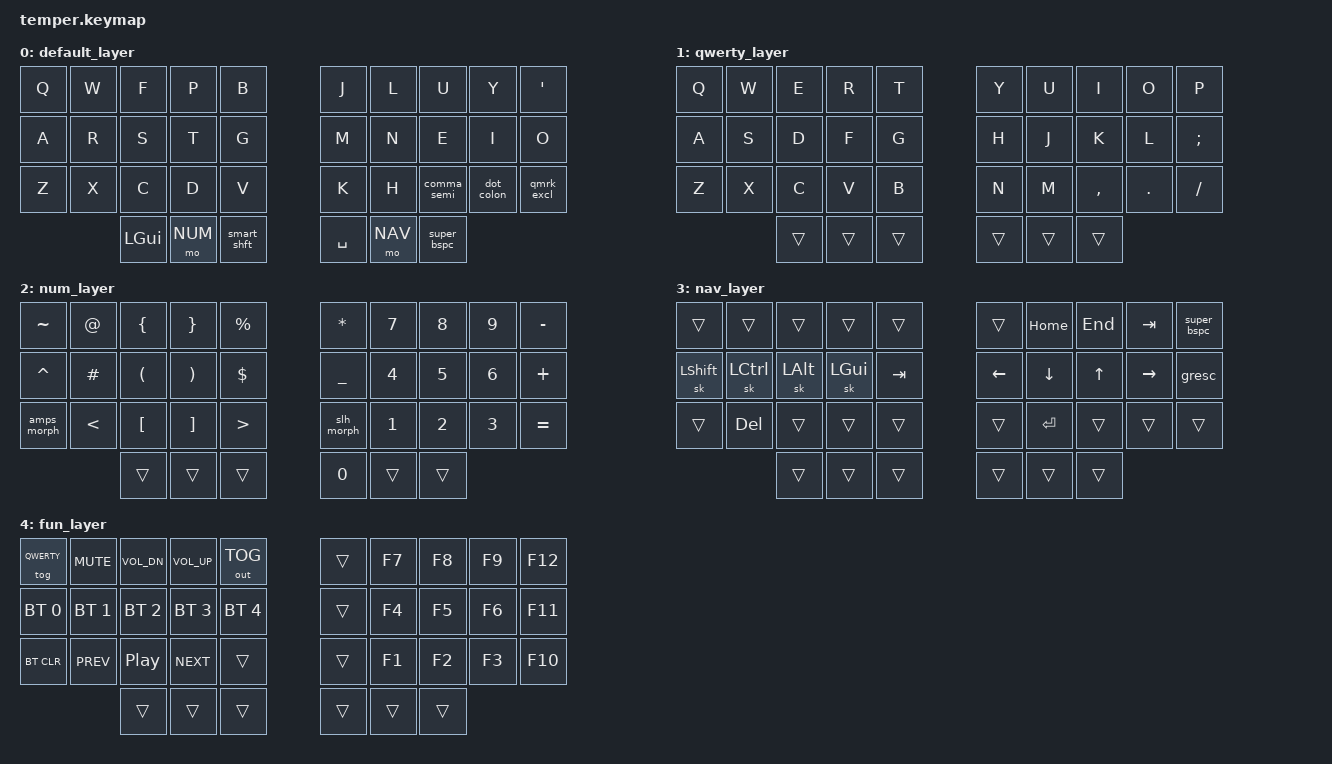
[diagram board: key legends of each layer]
/*
 * Copyright (c) 2020 The ZMK Contributors
 *
 * SPDX-License-Identifier: MIT
 */

#include <behaviors.dtsi>
#include <dt-bindings/zmk/keys.h>
#include <dt-bindings/zmk/bt.h>
#include <dt-bindings/zmk/outputs.h>

#define DEFAULT 0
#define QWERTY 1
#define NUM 2
#define NAV 3
#define FUN 4

/ {
    conditional_layers {
        compatible = "zmk,conditional-layers";
        tri_layer {
            if-layers = <NUM NAV>;
            then-layer = <FUN>;
        };
    };
    behaviors {
        hm: homerow_mods {
            compatible = "zmk,behavior-hold-tap";
            label = "HOMEROW_MODS";
            #binding-cells = <2>;
            tapping-term-ms = <300>;
            quick-tap-ms = <200>;
            flavor = "tap-preferred";
            bindings = <&kp>, <&kp>;
        };
    };

    combos {
        compatible = "zmk,combos";

        a {
            bindings = <&kp ESCAPE>;
            key-positions = <2 1>;
        };

        b {
            bindings = <&kp CLCK>;
            key-positions = <14 13>;
        };

        c {
            bindings = <&kp TAB>;
            key-positions = <26 25>;
        };

        d {
            bindings = <&kp BACKSPACE>;
            key-positions = <10 9>;
        };

        e {
            bindings = <&kp ENTER>;
            key-positions = <22 21>;
        };

        f {
            bindings = <&kp MINUS>;
            key-positions = <19 20>;
        };

        g {
            bindings = <&kp EQUAL>;
            key-positions = <21 20>;
        };

        h {
            bindings = <&sys_reset>;
            key-positions = <1 29>;
        };

        j {
            bindings = <&sys_reset>;
            key-positions = <30 10>;
        };
    };
        keymap {
                compatible = "zmk,keymap";

                default_layer {
                        bindings = <
// ╭─────────────┬─────────────┬─────────────┬─────────────┬─────────────╮   ╭─────────────┬─────────────┬─────────────┬─────────────┬─────────────╮
        &kp Q         &kp W         &kp F         &kp P         &kp B             &kp J         &kp L         &kp U         &kp Y       &kp APOS   
// ├─────────────┼─────────────┼─────────────┼─────────────┼─────────────┤   ├─────────────┼─────────────┼─────────────┼─────────────┼─────────────┤
        &kp A         &kp R         &kp S         &kp T         &kp G             &kp M         &kp N         &kp E         &kp I         &kp O
// ├─────────────┼─────────────┼─────────────┼─────────────┼─────────────┤   ├─────────────┼─────────────┼─────────────┼─────────────┼─────────────┤
        &kp Z         &kp X         &kp C         &kp D         &kp V             &kp K         &kp H      &comma_semi    &dot_colon    &qmrk_excl
// ╰─────────────┴─────────────┼─────────────┼─────────────┼─────────────┤   ├─────────────┼─────────────┼─────────────┼─────────────┴─────────────╯
                                   &kp LGUI      &mo NUM     &smart_shft        &kp SPACE      &mo NAV     &super_bspc
//                             ╰─────────────┴─────────────┴─────────────╯   ╰─────────────┴─────────────┴─────────────╯
                        >;
                };
                qwerty_layer {
                        bindings = <
// ╭─────────────┬─────────────┬─────────────┬─────────────┬─────────────╮   ╭─────────────┬─────────────┬─────────────┬─────────────┬─────────────╮
        &kp Q         &kp W         &kp E         &kp R         &kp T              &kp Y        &kp U         &kp I         &kp O         &kp P   
// ├─────────────┼─────────────┼─────────────┼─────────────┼─────────────┤   ├─────────────┼─────────────┼─────────────┼─────────────┼─────────────┤
        &kp A         &kp S         &kp D         &kp F         &kp G              &kp H        &kp J         &kp K         &kp L       &kp SEMI
// ├─────────────┼─────────────┼─────────────┼─────────────┼─────────────┤   ├─────────────┼─────────────┼─────────────┼─────────────┼─────────────┤
        &kp Z         &kp X         &kp C         &kp V         &kp B              &kp N        &kp M       &kp COMMA      &kp DOT      &kp FSLH
// ╰─────────────┴─────────────┼─────────────┼─────────────┼─────────────┤   ├─────────────┼─────────────┼─────────────┼─────────────┴─────────────╯
                                    &trans        &trans        &trans             &trans       &trans        &trans
//                             ╰─────────────┴─────────────┴─────────────╯   ╰─────────────┴─────────────┴─────────────╯
                        >;
                };
                num_layer {
                        bindings = <
// ╭─────────────┬─────────────┬─────────────┬─────────────┬─────────────╮   ╭─────────────┬─────────────┬─────────────┬─────────────┬─────────────╮
      &kp TILDE       &kp AT       &kp LBRC      &kp RBRC     &kp PRCNT          &kp STAR       &kp N7        &kp N8        &kp N9      &kp MINUS
// ├─────────────┼─────────────┼─────────────┼─────────────┼─────────────┤   ├─────────────┼─────────────┼─────────────┼─────────────┼─────────────┤
      &kp CARET      &kp HASH      &kp LPAR      &kp RPAR      &kp DLLR         &kp UNDER       &kp N4        &kp N5        &kp N6      &kp PLUS
// ├─────────────┼─────────────┼─────────────┼─────────────┼─────────────┤   ├─────────────┼─────────────┼─────────────┼─────────────┼─────────────┤
      &amps_morph     &kp LT       &kp LBKT      &kp RBKT       &kp GT          &slh_morph      &kp N1        &kp N2        &kp N3      &kp EQUAL
// ╰─────────────┴─────────────┼─────────────┼─────────────┼─────────────┤   ├─────────────┼─────────────┼─────────────┼─────────────┴─────────────╯
                                    &trans        &trans        &trans            &kp N0        &trans        &trans
//                             ╰─────────────┴─────────────┴─────────────╯   ╰─────────────┴─────────────┴─────────────╯
                        >;
                };

                nav_layer {
                        bindings = <
// ╭─────────────┬─────────────┬─────────────┬─────────────┬─────────────╮   ╭─────────────┬─────────────┬─────────────┬─────────────┬─────────────╮
        &trans        &trans        &trans        &trans        &trans            &trans       &kp HOME      &kp END       &kp TAB     &super_bspc
// ├─────────────┼─────────────┼─────────────┼─────────────┼─────────────┤   ├─────────────┼─────────────┼─────────────┼─────────────┼─────────────┤
      &sk LSHFT     &sk LCTRL      &sk LALT      &sk LGUI      &kp TAB           &kp LEFT      &kp DOWN       &kp UP      &kp RIGHT       &gresc
// ├─────────────┼─────────────┼─────────────┼─────────────┼─────────────┤   ├─────────────┼─────────────┼─────────────┼─────────────┼─────────────┤
        &trans       &kp DEL        &trans        &trans        &trans            &trans        &kp RET       &trans        &trans        &trans
// ╰─────────────┴─────────────┼─────────────┼─────────────┼─────────────┤   ├─────────────┼─────────────┼─────────────┼─────────────┴─────────────╯
                                    &trans        &trans        &trans            &trans        &trans        &trans
//                             ╰─────────────┴─────────────┴─────────────╯   ╰─────────────┴─────────────┴─────────────╯
                        >;
                };

                fun_layer {
                        bindings = <
// ╭─────────────┬─────────────┬─────────────┬─────────────┬─────────────╮   ╭─────────────┬─────────────┬─────────────┬─────────────┬─────────────╮
     &tog QWERTY   &kp K_MUTE    &kp C_VOL_DN  &kp C_VOL_UP  &out OUT_TOG         &trans        &kp F7        &kp F8        &kp F9       &kp F12
// ├─────────────┼─────────────┼─────────────┼─────────────┼─────────────┤   ├─────────────┼─────────────┼─────────────┼─────────────┼─────────────┤
     &bt BT_SEL 0  &bt BT_SEL 1  &bt BT_SEL 2  &bt BT_SEL 3  &bt BT_SEL 4         &trans        &kp F4        &kp F5        &kp F6       &kp F11
// ├─────────────┼─────────────┼─────────────┼─────────────┼─────────────┤   ├─────────────┼─────────────┼─────────────┼─────────────┼─────────────┤
      &bt BT_CLR    &kp C_PREV     &kp C_PP     &kp C_NEXT      &trans            &trans        &kp F1        &kp F2        &kp F3       &kp F10
// ╰─────────────┴─────────────┼─────────────┼─────────────┼─────────────┤   ├─────────────┼─────────────┼─────────────┼─────────────┴─────────────╯
                                    &trans        &trans        &trans            &trans        &trans        &trans
//                             ╰─────────────┴─────────────┴─────────────╯   ╰─────────────┴─────────────┴─────────────╯
                        >;
                };
        };
};
